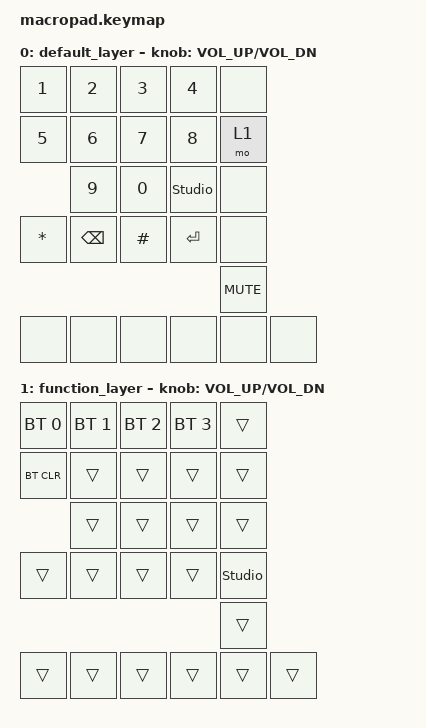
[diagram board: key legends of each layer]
#include <behaviors.dtsi>
#include <dt-bindings/zmk/keys.h>
#include <dt-bindings/zmk/outputs.h>
#include <dt-bindings/zmk/bt.h>

/ {
    keymap {
        compatible = "zmk,keymap";
        
        default_layer {
            bindings = <
                &kp N1     &kp N2    &kp N3    &kp N4         &none
                &kp N5     &kp N6    &kp N7    &kp N8         &mo 1
                           &kp N9    &kp N0    &studio_unlock &none
                &kp ASTRK  &kp BSPC  &kp POUND &kp ENTER      &none
                                                              &kp C_MUTE
                &none      &none     &none     &none          &none          &none
            >;
            sensor-bindings = <&inc_dec_kp C_VOL_UP C_VOL_DN>;
        };
        
        function_layer {
            bindings = <
                &bt BT_SEL 0  &bt BT_SEL 1  &bt BT_SEL 2  &bt BT_SEL 3   &trans
                &bt BT_CLR    &trans        &trans        &trans         &trans
                              &trans        &trans        &trans         &trans
                &trans        &trans        &trans        &trans         &studio_unlock
                                                                         &trans
                &trans        &trans        &trans        &trans         &trans         &trans
            >;
            sensor-bindings = <&inc_dec_kp C_VOL_UP C_VOL_DN>;
        };
    };
};
